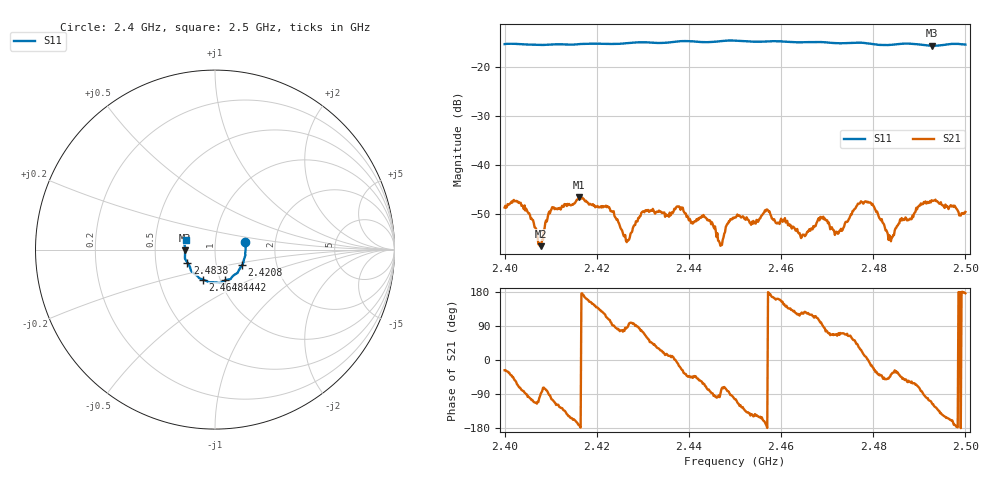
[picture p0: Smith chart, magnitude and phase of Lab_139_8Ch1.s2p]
# Hz S RI R 50
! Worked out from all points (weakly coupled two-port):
!   601 points, 2.4 GHz to 2.5 GHz, reference 50 ohm
!   highest |S21| = -46.66 dB at 2.4162 GHz (marker M1); lowest = -56.6 dB at 2.4078 GHz (marker M2)
!   lowest |S11| = -15.6 dB at 2.4928 GHz (marker M3), VSWR 1.40, Z = 35.8 - j0.354 ohm
!   |S11| at or under -10 dB: start of sweep to end of sweep
!   S12 and S22 are empty: the file has one direction only
!   S11 on the Smith chart (normalised r, x): 2.4 GHz: 1.40, +0.12; 2.4208 GHz: 1.33, -0.24; 2.4442 GHz: 1.05, -0.37; 2.4648 GHz: 0.83, -0.29; 2.4838 GHz: 0.73, -0.11; 2.5 GHz: 0.72, +0.08
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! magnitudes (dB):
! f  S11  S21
! 2.4 GHz  -15.3  -48.7
! 2.4038 GHz  -15.3  -48.4
! 2.4078 GHz  -15.4  -56.6
! 2.4102 GHz  -15.3  -49.1
! 2.4162 GHz  -15.3  -46.7
! 2.4167 GHz  -15.2  -46.9
! 2.4208 GHz  -15.2  -48.5
! 2.4267 GHz  -15.1  -55.4
! 2.4302 GHz  -14.9  -49.5
! 2.4333 GHz  -15.0  -49.6
! 2.4442 GHz  -14.9  -51.2
! 2.4468 GHz  -14.7  -56.6
! 2.45 GHz  -14.5  -50.8
! 2.457 GHz  -14.7  -49.2
! 2.4648 GHz  -14.9  -54.3
! 2.4667 GHz  -14.8  -53.0
! 2.4722 GHz  -15.1  -53.8
! 2.4787 GHz  -15.1  -47.7
! 2.4833 GHz  -15.5  -55.4
! 2.4838 GHz  -15.4  -55.6
! 2.4928 GHz  -15.6  -47.4
! 2.5 GHz  -15.4  -49.6
